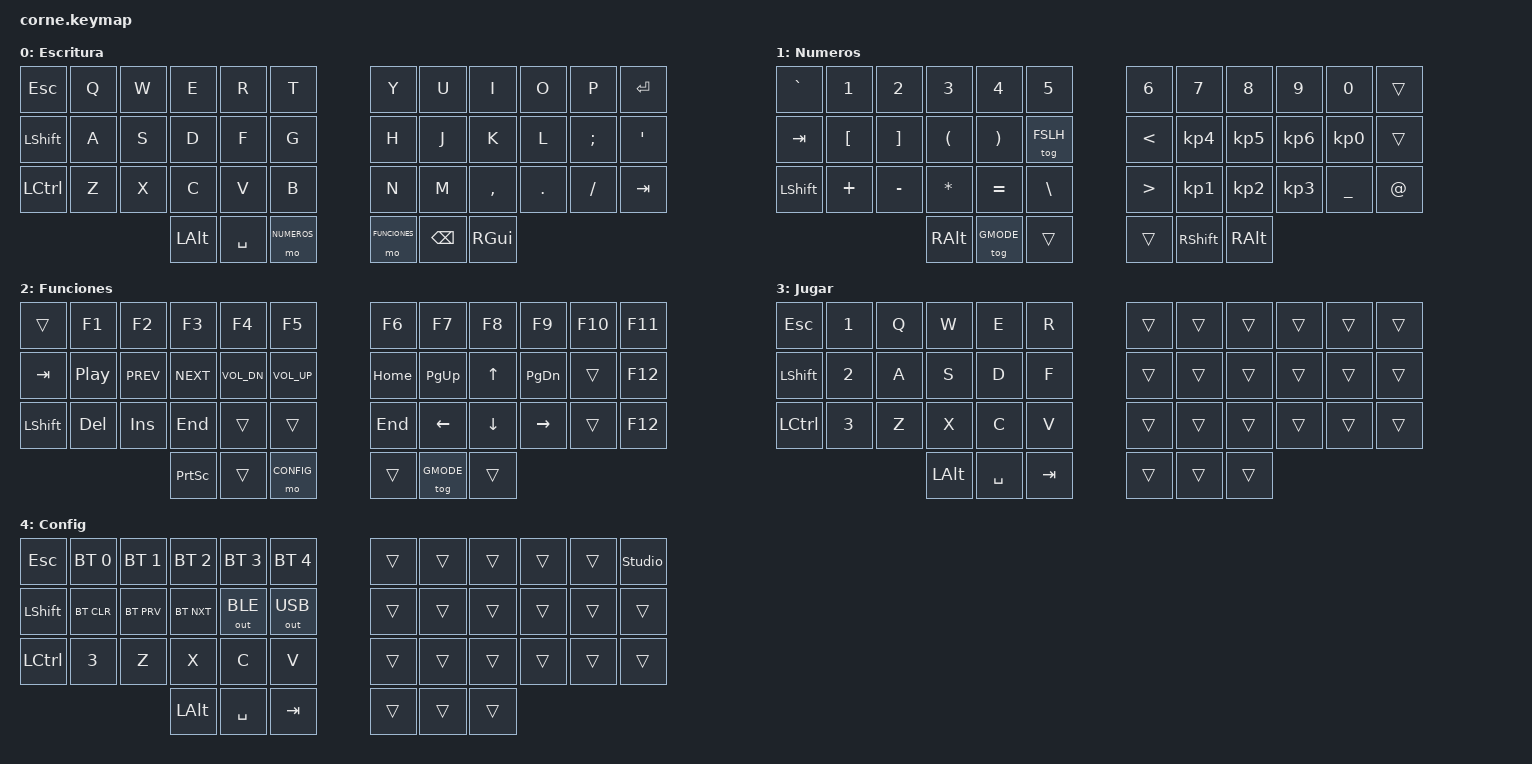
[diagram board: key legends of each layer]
/* LAYOUT ORIGINAL CON CAPA GMODE PARA CORNE
 * Copyright (c) 2020 The ZMK Contributors
 *
 * SPDX-License-Identifier: MIT
 */
#include <behaviors.dtsi>
#include <dt-bindings/zmk/keys.h>
#include <dt-bindings/zmk/bt.h>
#include <dt-bindings/zmk/outputs.h>

#define DEFAULT 0
#define NUMEROS 1
#define FUNCIONES 2
#define GMODE 3
#define CONFIG 4

/{
        keymap {
                compatible = "zmk,keymap";

                DEFAULT {
                        label = "Escritura";
                        bindings = <
   &kp ESC   &kp Q &kp W &kp E    &kp R     &kp T        &kp Y &kp U   &kp I     &kp O   &kp P    &kp RET
   &kp LSHFT &kp A &kp S &kp D    &kp F     &kp G        &kp H &kp J   &kp K     &kp L   &kp SEMI &kp SQT
   &kp LCTRL &kp Z &kp X &kp C    &kp V     &kp B        &kp N &kp M   &kp COMMA &kp DOT &kp FSLH &kp TAB
                         &kp LALT &kp SPACE &mo NUMEROS  &mo FUNCIONES &kp BSPC  &kp RGUI>;
        };
                NUMEROS {
                        label = "Numeros";
                        bindings = <
   &kp GRAVE &kp N1   &kp N2    &kp N3    &kp N4     &kp N5       &kp N6 &kp N7       &kp N8     &kp N9    &kp N0    &trans 
   &kp TAB   &kp LBKT &kp RBKT  &kp LPAR  &kp RPAR   &tog FSLH    &kp LT &kp KP_N4    &kp KP_N5  &kp KP_N6 &kp KP_N0  &trans  
   &kp LSHFT &kp PLUS &kp MINUS &kp ASTRK &kp EQUAL  &kp BSLH     &kp GT &kp KP_N1    &kp KP_N2  &kp KP_N3 &kp UNDER &kp AT
                                &kp RALT  &tog GMODE &trans       &trans &kp RSHFT &kp RALT>;
                };
                FUNCIONES { 
                        label = "Funciones";
                        bindings = <
   &trans    &kp F1     &kp F2     &kp F3     &kp F4       &kp F5             &kp F6    &kp F7     &kp F8    &kp F9     &kp F10    &kp F11
   &kp TAB   &kp C_PP   &kp C_PREV &kp C_NEXT &kp C_VOL_DN &kp C_VOL_UP       &kp HOME  &kp PG_UP  &kp UP    &kp PG_DN &trans    &kp F12
   &kp LSHFT &kp DELETE &kp INSERT &kp END    &trans       &trans             &kp END   &kp LEFT   &kp DOWN  &kp RIGHT &trans    &kp F12
                                   &kp PSCRN  &trans       &mo CONFIG         &trans    &tog GMODE &trans>;
                };
                GMODE {
                        label = "Jugar";
                        bindings = <
   &kp  ESC   &kp N1 &kp Q &kp W     &kp E     &kp R    &trans &trans &trans &trans &trans &trans
   &kp  LSHFT &kp N2 &kp A &kp S     &kp D     &kp F    &trans &trans &trans &trans &trans &trans
   &kp  LCTRL &kp N3 &kp Z &kp X     &kp C     &kp V    &trans &trans &trans &trans &trans &trans
                           &kp LALT  &kp SPACE &kp TAB  &trans &trans &trans>;
                };
                CONFIG {
                        label = "Config";
                        bindings = <
   &kp  ESC   &bt BT_SEL 0 &bt BT_SEL 1 &bt BT_SEL 2 &bt BT_SEL 3 &bt BT_SEL 4    &trans &trans &trans &trans &trans &studio_unlock
   &kp  LSHFT &bt BT_CLR   &bt BT_PRV   &bt BT_NXT   &out OUT_BLE &out OUT_USB    &trans &trans &trans &trans &trans &trans
   &kp  LCTRL &kp N3       &kp Z        &kp X        &kp C        &kp V           &trans &trans &trans &trans &trans &trans
                                        &kp LALT     &kp SPACE    &kp TAB         &trans &trans &trans>;
                };
        };
};
